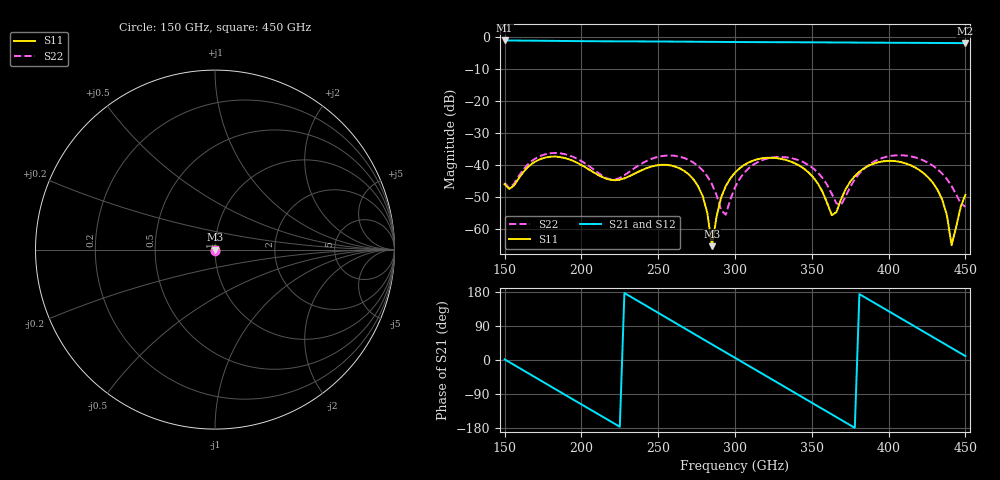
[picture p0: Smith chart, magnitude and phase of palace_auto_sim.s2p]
#  GHZ S DB R 50
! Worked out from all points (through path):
!   101 points, 150 GHz to 450 GHz, reference 50 ohm
!   highest |S21| = -1.22 dB at 150 GHz (marker M1); lowest = -2.1 dB at 450 GHz (marker M2)
!   group delay of S21, straight-line fit = 6.59 ps
!   lowest |S11| = -65.4 dB at 285 GHz (marker M3), VSWR 1.00, Z = 50 - j0.0226 ohm
!   |S11| at or under -10 dB: start of sweep to end of sweep
!   |S22| runs from -55.6 to -36.4 dB; largest |S21 - S12| = 9.8e-14
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150  -46.07 -75.7  -1.22 1.7  -1.22 1.7  -45.69 -80.5
177  -37.73 -27.4  -1.33 -62.5  -1.33 -62.5  -36.68 -32.6
201  -40.37 -57.2  -1.44 -119.4  -1.44 -119.4  -39.16 -67.5
228  -44.27 -22.4  -1.50 176.7  -1.50 176.7  -43.30 -25.0
252  -40.06 -30.5  -1.55 119.7  -1.55 119.7  -37.35 -40.7
276  -46.74 -74.9  -1.63 62.6  -1.63 62.6  -40.43 -96.8
282  -55.11 -77.8  -1.65 48.4  -1.65 48.4  -43.63 -115.5
285  -65.44 -25.0  -1.66 41.3  -1.66 41.3  -46.08 -127.3
288  -56.16 51.6  -1.67 34.2  -1.67 34.2  -49.52 -144.0
294  -46.68 50.6  -1.69 19.9  -1.69 19.9  -55.61 115.8
300  -42.49 38.9  -1.70 5.7  -1.70 5.7  -47.09 53.8
312  -38.69 12.1  -1.73 -22.6  -1.73 -22.6  -40.00 12.4
327  -37.95 -21.5  -1.76 -58.1  -1.76 -58.1  -37.62 -26.7
351  -43.97 -80.2  -1.81 -115.1  -1.81 -115.1  -41.18 -89.9
363  -55.78 -164.4  -1.84 -143.6  -1.84 -143.6  -49.07 -144.3
369  -50.86 105.6  -1.86 -157.8  -1.86 -157.8  -52.64 136.1
381  -42.21 56.3  -1.89 173.8  -1.89 173.8  -42.71 48.2
402  -38.81 2.1  -1.94 124.1  -1.94 124.1  -37.22 -15.1
429  -45.76 -61.7  -2.00 60.1  -2.00 60.1  -40.38 -89.5
435  -51.05 -79.2  -2.01 45.9  -2.01 45.9  -42.84 -109.0
441  -65.13 -141.5  -2.03 31.7  -2.03 31.7  -46.65 -134.5
450  -49.42 84.9  -2.06 10.4  -2.06 10.4  -53.12 131.4
